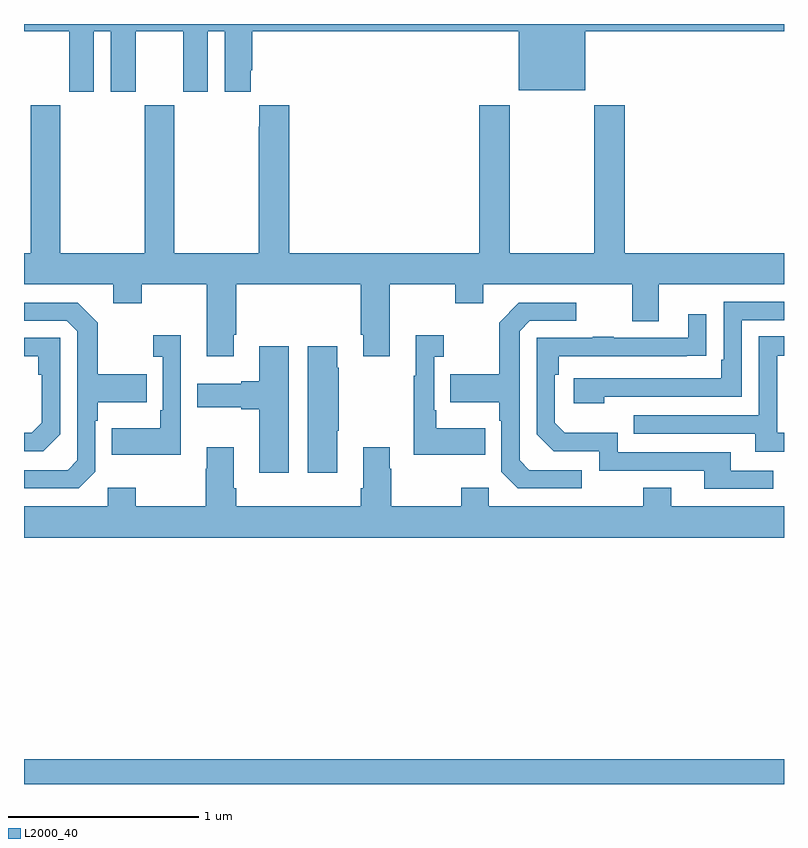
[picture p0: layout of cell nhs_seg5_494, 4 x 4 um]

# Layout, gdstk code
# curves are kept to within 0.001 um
import gdstk
lib = gdstk.Library(unit=1e-6, precision=1e-09)
def R(c, l, rs):  # rectangles x0, y0, x1, y1
    for r in rs: c.add(gdstk.rectangle(r[:2], r[2:], *l))
def P(c, l, *ps):  # polygons
    for p in ps: c.add(gdstk.Polygon(p, *l))
L2000_40 = (2000, 40)

nhs_seg5_494 = lib.new_cell('nhs_seg5_494')
R(nhs_seg5_494, L2000_40, [(143,852.799,147,852.928)])
P(nhs_seg5_494, L2000_40, [(143,856.76),(143.237,856.76),(143.237,856.443),(143.368,856.443),(143.368,856.76),(143.456,856.76),(143.456,856.443),(143.587,856.443),(143.587,856.76),(143.837,856.76),(143.837,856.443),(143.968,856.443),(143.968,856.76),(144.056,856.76),(144.056,856.443),(144.193,856.443),(144.193,856.555),(144.2,856.555),(144.2,856.76),(145.604,856.76),(145.604,856.451),(145.954,856.451),(145.954,856.76),(147,856.76),(147,856.799),(143,856.799)],
  [(144.103,855.163),(144.116,855.163),(144.116,855.428),(144.773,855.428),(144.773,855.163),(144.785,855.163),(144.785,855.051),(144.925,855.051),(144.925,855.428),(145.27,855.428),(145.27,855.329),(145.417,855.329),(145.417,855.428),(146.201,855.428),(146.201,855.234),(146.341,855.234),(146.341,855.428),(147,855.428),(147,855.592),(146.162,855.592),(146.162,856.372),(146.002,856.372),(146.002,855.592),(145.557,855.592),(145.557,856.372),(145.397,856.372),(145.397,855.592),(144.395,855.592),(144.395,856.372),(144.239,856.372),(144.239,856.259),(144.235,856.259),(144.235,855.592),(143.79,855.592),(143.79,856.372),(143.635,856.372),(143.635,855.592),(143.19,855.592),(143.19,856.372),(143.035,856.372),(143.035,855.592),(143,855.592),(143,855.428),(143.471,855.428),(143.471,855.329),(143.619,855.329),(143.619,855.428),(143.963,855.428),(143.963,855.051),(144.103,855.051)],
  [(146.054,854.838),(146.778,854.838),(146.778,855.24),(147,855.24),(147,855.336),(146.682,855.336),(146.682,855.031),(146.669,855.031),(146.669,854.934),(145.893,854.934),(145.893,854.804),(146.054,854.804)],
  [(145.936,854.451),(145.659,854.451),(145.608,854.502),(145.608,855.183),(145.662,855.237),(145.906,855.237),(145.906,855.333),(145.605,855.333),(145.5,855.227),(145.5,854.955),(145.243,854.955),(145.243,854.807),(145.5,854.807),(145.5,854.711),(145.512,854.711),(145.512,854.442),(145.599,854.355),(145.936,854.355)],
  [(143.376,854.442),(143.376,854.711),(143.389,854.711),(143.389,854.807),(143.645,854.807),(143.645,854.955),(143.389,854.955),(143.389,855.227),(143.283,855.333),(143,855.333),(143,855.237),(143.226,855.237),(143.28,855.183),(143.28,854.502),(143.229,854.451),(143,854.451),(143,854.355),(143.289,854.355)],
  [(146.944,854.448),(146.719,854.448),(146.719,854.544),(146.124,854.544),(146.124,854.647),(145.847,854.647),(145.794,854.7),(145.794,854.954),(145.814,854.954),(145.814,855.051),(146.591,855.052),(146.591,855.271),(146.495,855.271),(146.495,855.147),(146.105,855.147),(146.105,855.152),(145.993,855.152),(145.993,855.147),(145.698,855.147),(145.698,854.64),(145.788,854.55),(146.028,854.55),(146.028,854.448),(146.579,854.448),(146.579,854.352),(146.944,854.352)],
  [(143.826,855.16),(143.679,855.16),(143.679,855.047),(143.73,855.047),(143.73,854.767),(143.718,854.767),(143.718,854.671),(143.461,854.671),(143.461,854.531),(143.826,854.531)],
  [(145.427,854.671),(145.171,854.671),(145.171,854.767),(145.158,854.767),(145.158,855.047),(145.21,855.047),(145.21,855.16),(145.061,855.16),(145.061,854.947),(145.05,854.947),(145.05,854.531),(145.427,854.531)],
  [(147,854.649),(146.964,854.649),(146.964,855.054),(147,855.054),(147,855.155),(146.868,855.155),(146.868,854.739),(146.209,854.739),(146.209,854.643),(146.849,854.643),(146.849,854.549),(147,854.549)],
  [(143.19,854.64),(143.19,855.147),(143,855.147),(143,855.051),(143.074,855.051),(143.074,854.954),(143.094,854.954),(143.094,854.7),(143.041,854.647),(143,854.647),(143,854.55),(143.1,854.55)],
  [(144.649,854.659),(144.657,854.659),(144.657,854.99),(144.649,854.99),(144.649,855.103),(144.494,855.103),(144.494,854.436),(144.649,854.436)],
  [(144.394,855.103),(144.239,855.103),(144.239,854.918),(144.143,854.918),(144.143,854.905),(143.913,854.905),(143.913,854.783),(144.143,854.783),(144.143,854.771),(144.239,854.771),(144.239,854.436),(144.394,854.436)],
  [(147,854.26),(146.407,854.26),(146.407,854.359),(146.26,854.359),(146.26,854.26),(145.446,854.26),(145.446,854.359),(145.3,854.359),(145.3,854.26),(144.933,854.26),(144.933,854.459),(144.925,854.459),(144.925,854.572),(144.785,854.572),(144.785,854.356),(144.773,854.356),(144.773,854.26),(144.116,854.26),(144.116,854.356),(144.103,854.356),(144.103,854.572),(143.963,854.572),(143.963,854.459),(143.956,854.459),(143.956,854.26),(143.589,854.26),(143.589,854.359),(143.442,854.359),(143.442,854.26),(143,854.26),(143,854.096),(147,854.096)])

lib.write_gds('nhs_seg5_494.gds')
